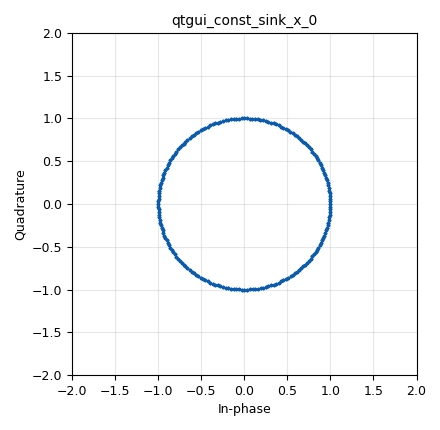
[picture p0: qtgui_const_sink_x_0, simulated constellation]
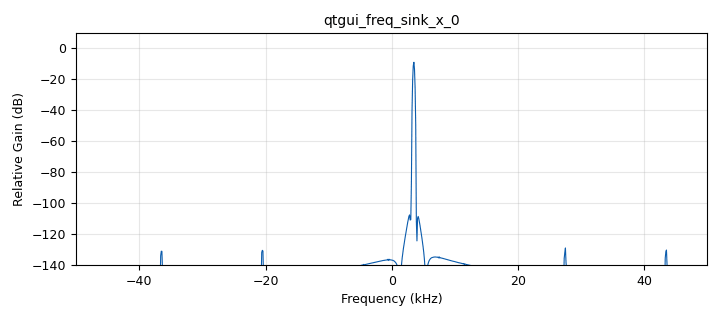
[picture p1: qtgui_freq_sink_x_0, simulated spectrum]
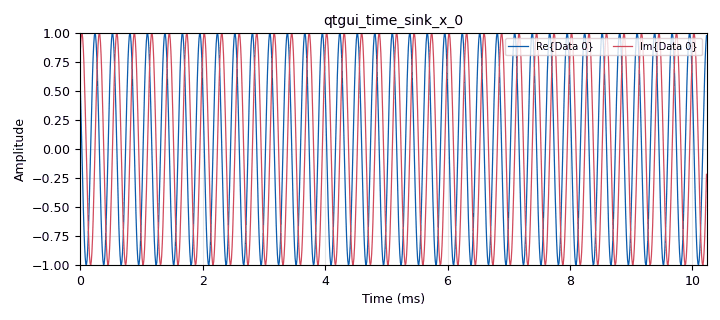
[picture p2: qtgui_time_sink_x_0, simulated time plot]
options:
  parameters:
    author: jason
    generate_options: qt_gui
    generator_class_name: PythonQtGuiGenerator
    generator_module: gnuradio.grc.workflows.python_qt_gui
    id: lesson03hw3_complexPlotsMultiplyComplexExponentials
    output_language: python
    title: complexPlotsMultiplyComplexExponentials
  states: {}

blocks:
- name: freq1
  id: variable_qtgui_range
  parameters:
    start: '-samp_rate'
    step: '1'
    stop: samp_rate
    value: samp_rate/100
  states: {}
- name: freq2
  id: variable_qtgui_range
  parameters:
    start: '-samp_rate'
    step: '1'
    stop: samp_rate
    value: samp_rate/40
  states: {}
- name: samp_rate
  id: variable
  parameters:
    value: 100e3
  states: {}
- name: analog_sig_source_x_0
  id: analog_sig_source_x
  parameters:
    amp: '1'
    freq: freq1
    offset: '0'
    phase: '0'
    samp_rate: samp_rate
    type: complex
    waveform: analog.GR_COS_WAVE
  states: {}
- name: analog_sig_source_x_0_0
  id: analog_sig_source_x
  parameters:
    amp: '1'
    freq: freq2
    offset: '0'
    phase: '0'
    samp_rate: samp_rate
    type: complex
    waveform: analog.GR_COS_WAVE
  states: {}
- name: blocks_multiply_xx_0
  id: blocks_multiply_xx
  parameters:
    type: complex
  states: {}
- name: blocks_throttle_0
  id: blocks_throttle2
  parameters:
    samples_per_second: samp_rate
    type: complex
  states: {}
- name: qtgui_const_sink_x_0
  id: qtgui_const_sink_x
  parameters:
    size: '1024'
    type: complex
  states: {}
- name: qtgui_freq_sink_x_0
  id: qtgui_freq_sink_x
  parameters:
    bw: samp_rate
    fc: '0'
    fftsize: '1024'
    type: complex
  states: {}
- name: qtgui_time_sink_x_0
  id: qtgui_time_sink_x
  parameters:
    size: '1024'
    srate: samp_rate
    type: complex
  states: {}
- name: qtgui_waterfall_sink_x_0
  id: qtgui_waterfall_sink_x
  parameters:
    bw: samp_rate
    fc: '0'
    fftsize: '1024'
    type: complex
  states: {state: disabled}

connections:
- [analog_sig_source_x_0, '0', blocks_multiply_xx_0, '0']
- [analog_sig_source_x_0_0, '0', blocks_multiply_xx_0, '1']
- [blocks_multiply_xx_0, '0', blocks_throttle_0, '0']
- [blocks_throttle_0, '0', qtgui_const_sink_x_0, '0']
- [blocks_throttle_0, '0', qtgui_freq_sink_x_0, '0']
- [blocks_throttle_0, '0', qtgui_time_sink_x_0, '0']
- [blocks_throttle_0, '0', qtgui_waterfall_sink_x_0, '0']

metadata:
  file_format: 1
  grc_version: 3.10.12.0
